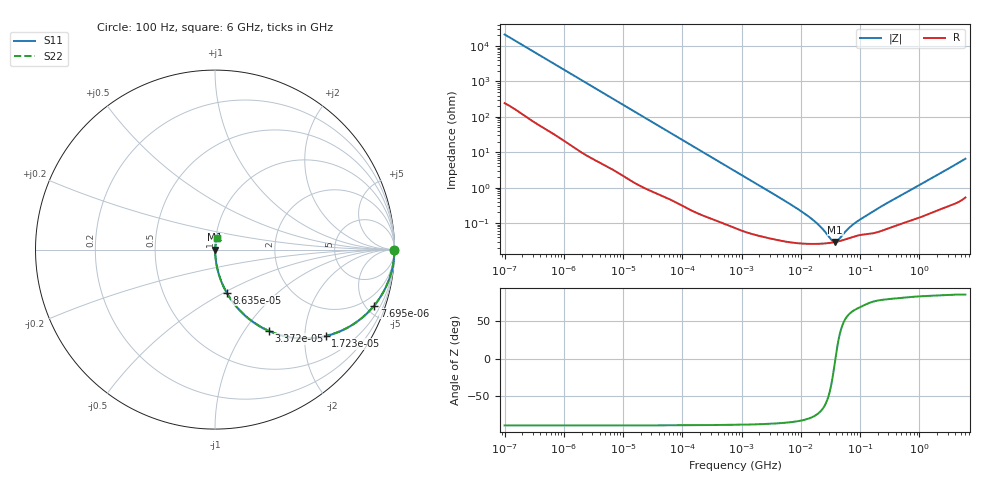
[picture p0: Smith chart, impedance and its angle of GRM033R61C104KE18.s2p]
!Murata Part Number: GRM033R61C104KE18
!These Parameters are Measured in Series Mode Connection
!Data Generated on Mar 30, 2021
!  o--ll--o
!Port1  Port2
!  o------o
!Operation Temp=25[degC], DC Bias Voltage=0[V]
!Freq. Start=100[Hz] Stop=6[GHz] 401[Steps]
# Hz S RI R 50
!Freq.(Hz) S11(Real) S11(Imag) S21(Real) S21(Imag) S12(Real) S12(Imag) S22(Real) S22(Imag)
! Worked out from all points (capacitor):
!   401 points, 100 Hz to 6 GHz, reference 50 ohm
!   read as one part in series: C = 74.8 nF near 109 Hz
!   lowest |Z| = 29 mohm at 38.09 MHz (marker M1)
!   series resonance near 38.43 MHz, so ESL is about 230 pH
!   S11 on the Smith chart (normalised r, x): 100 Hz: open; 7.695 kHz: 1.06, -5.67; 17.23 kHz: 1.02, -2.54; 33.72 kHz: 1.01, -1.30; 86.35 kHz: 1.01, -0.51; 6 GHz: 1.01, +0.13
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100  0.9999 -0.00472  7.63e-05 0.00472  7.63e-05 0.00472  0.9999 -0.00472
627  0.9989 -0.0291  0.00115 0.0291  0.00115 0.0291  0.9989 -0.0291
2008  0.9906 -0.0918  0.00935 0.0918  0.00935 0.0918  0.9906 -0.0918
4496  0.9572 -0.1976  0.0428 0.1976  0.0428 0.1976  0.9572 -0.1976
7695  0.8869 -0.3118  0.1131 0.3118  0.1131 0.3118  0.8869 -0.3118
11514  0.7807 -0.4089  0.2193 0.4089  0.2193 0.4089  0.7807 -0.4089
17227  0.617 -0.4813  0.383 0.4813  0.383 0.4813  0.617 -0.4813
33721  0.3005 -0.4529  0.6995 0.4529  0.6995 0.4529  0.3005 -0.4529
40335  0.2323 -0.4164  0.7677 0.4164  0.7677 0.4164  0.2323 -0.4164
86348  0.0647 -0.2392  0.9353 0.2392  0.9353 0.2392  0.0647 -0.2392
221108  0.0117 -0.0996  0.9883 0.0996  0.9883 0.0996  0.0117 -0.0996
774597  0.00156 -0.0291  0.9984 0.0291  0.9984 0.0291  0.00156 -0.0291
6353432  0.0003 -0.00355  0.9997 0.00355  0.9997 0.00355  0.0003 -0.00355
1.555665e7  0.000258 -0.00125  0.9997 0.00125  0.9997 0.00125  0.000258 -0.00125
2.225763e7  0.000261 -0.000691  0.9997 0.000691  0.9997 0.000691  0.000261 -0.000691
3.330331e7  0.000279 -0.000171  0.9997 0.000171  0.9997 0.000171  0.000279 -0.000171
3.80911e7  0.00029 -1.04e-05  0.9997 1.04e-05  0.9997 1.04e-05  0.00029 -1.04e-05
4.35672e7  0.000304 0.000148  0.9997 -0.000148  0.9997 -0.000148  0.000304 0.000148
6.233367e7  0.000362 0.000571  0.9996 -0.000571  0.9996 -0.000571  0.000362 0.000571
8.154455e7  0.000419 0.000899  0.9996 -0.000899  0.9996 -0.000899  0.000419 0.000899
3.124326e8  0.000736 0.00391  0.9993 -0.00391  0.9993 -0.00391  0.000736 0.00391
6e9  0.0094 0.0643  0.9906 -0.0643  0.9906 -0.0643  0.0094 0.0643
